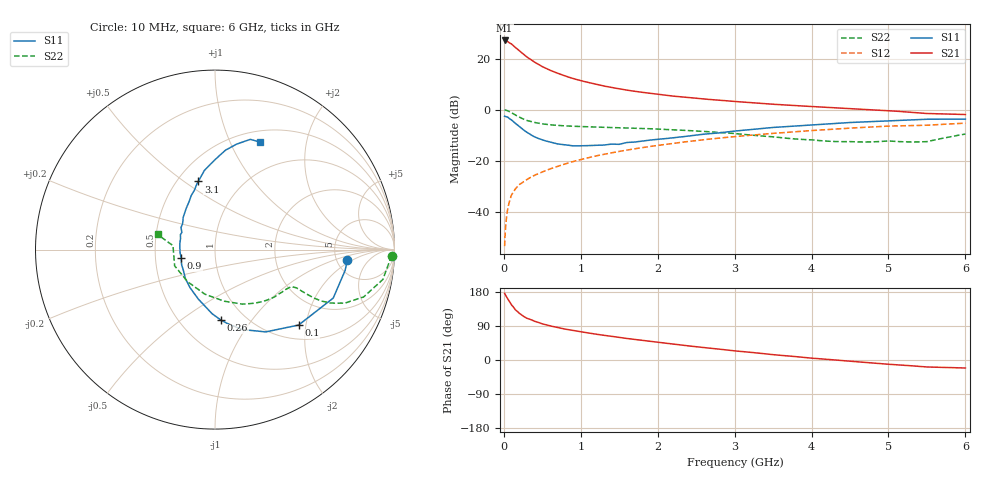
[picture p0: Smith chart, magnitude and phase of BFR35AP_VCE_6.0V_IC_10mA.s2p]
! Infineon Technologies  Discrete & RF Semiconductors
! BFR35AP
! VCE =  6.0 V,  IC =  10 mA
! Common Emitter S-Parameters:  Nov 2015
# GHz  S  MA  R  50
!  f  S11  S21  S12  S22
! GHz  MAG  ANG  MAG  ANG  MAG  ANG  MAG  ANG
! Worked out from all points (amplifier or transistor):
!   210 points, 10 MHz to 6 GHz, reference 50 ohm
!   highest |S21| = 27.1 dB at 10 MHz (marker M1)
!   |S21| within 3 dB of that: start of sweep to 160.1 MHz
!   unconditionally stable (mu >= 1): 615.6 MHz to 2.954 GHz
!   at 185 MHz: K = 0.53, MSG = 26.7 dB, |S12| = -29.9 dB
!   at 1.52 GHz: K = 1.10, MAG = 10.3 dB, |S12| = -16.3 dB
!   at 6 GHz: K = 0.91, MSG = 1.7 dB, |S12| = -5.3 dB
!   S11 on the Smith chart (normalised r, x): 10 MHz: 6.21, -1.66; 100 MHz: 1.31, -1.82; 260 MHz: 0.78, -0.72; 900 MHz: 0.68, -0.07; 3.1 GHz: 0.63, +0.57; 6 GHz: 0.63, +1.30
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0.01  0.7392 -4.7  22.58 175.8  0.0021 90.4  0.9864 -2.0
0.02  0.7342 -9.1  22.27 171.8  0.0043 85.8  0.9734 -4.1
0.05  0.712 -22.3  21.48 161.3  0.0113 79.8  0.9498 -10.1
0.1  0.6272 -42.1  19.26 145.5  0.0212 71.7  0.8689 -17.7
0.15  0.5385 -58.4  16.48 132.5  0.0278 66.1  0.7803 -22.5
0.2  0.4701 -71.3  14.19 123.4  0.0337 64.4  0.7103 -24.8
0.24  0.4167 -80.6  12.61 117.5  0.0369 62.8  0.6643 -25.7
0.26  0.3951 -85.0  11.92 114.8  0.0387 62.6  0.6442 -25.9
0.3  0.3576 -92.6  10.7 110.1  0.0426 63.1  0.61 -26.1
0.4  0.291 -108.6  8.466 102.2  0.0516 63.3  0.5567 -25.8
0.5  0.2548 -122.7  6.929 95.3  0.0597 64.3  0.523 -25.4
0.6  0.2311 -135.7  5.897 90.0  0.0685 65.0  0.5026 -25.2
0.7  0.2115 -146.1  5.129 85.5  0.0771 65.3  0.4882 -25.4
0.9  0.1942 -165.5  4.044 77.7  0.0956 65.4  0.4701 -26.4
1.02  0.1952 -176.8  3.617 73.8  0.1064 65.3  0.4632 -27.3
1.4  0.21 156.6  2.704 62.4  0.1415 63.7  0.4445 -31.7
1.68  0.2295 142.9  2.301 54.8  0.168 61.8  0.4305 -35.7
2.02  0.262 130.6  1.972 46.3  0.2 58.9  0.4127 -41.5
3.1  0.391 103.8  1.403 22.3  0.3038 47.6  0.3277 -66.4
4.1  0.5105 88.8  1.124 3.4  0.3959 35.5  0.2465 -107.8
5.1  0.6079 77.2  0.928 -12.5  0.4767 21.8  0.2367 -163.2
6  0.6493 67.3  0.799 -21.1  0.541 11.3  0.3311 165.2
